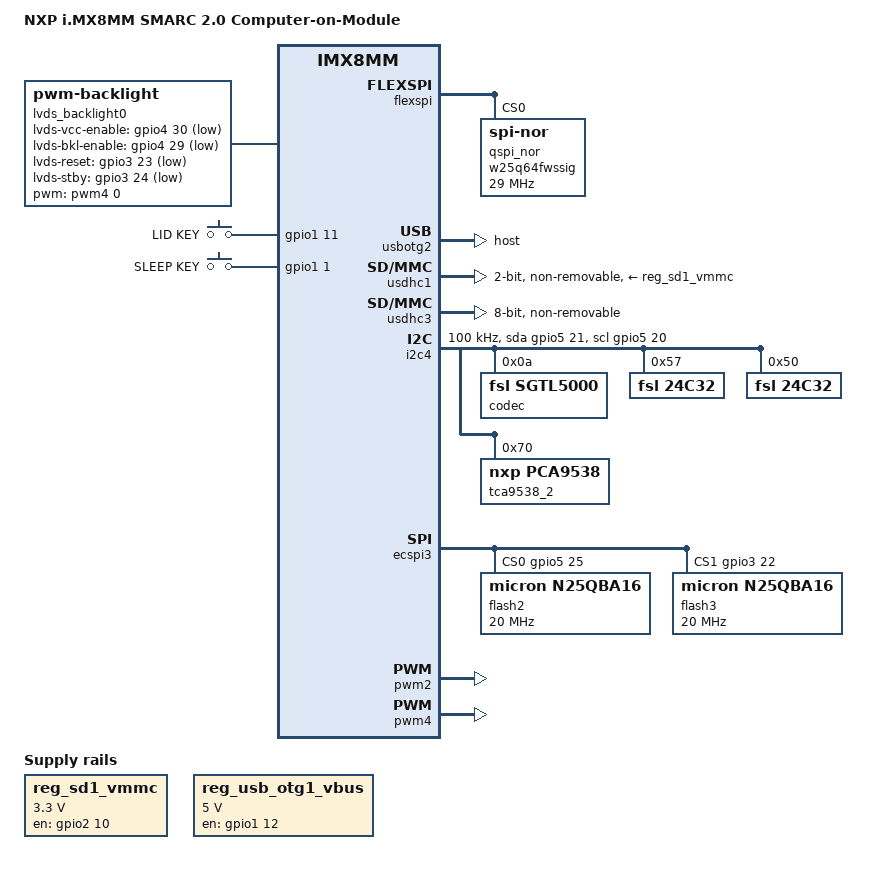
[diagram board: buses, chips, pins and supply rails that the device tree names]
// SPDX-License-Identifier: (GPL-2.0+ OR MIT)
/*
 * Copyright 2019-2020 NXP
 */

/dts-v1/;

#include <dt-bindings/usb/pd.h>
#include "imx8mm-rom5721-a1.dtsi"

/ {
	model = "NXP i.MX8MM SMARC 2.0 Computer-on-Module";
	compatible = "fsl,imx8mm-evk", "fsl,imx8mm";

	board {
		compatible = "proc-board";
		board-type = "ROM-5721 A1";
		board-cpu = "IMX8MM";
	};

	aliases {
                rtc0 = &s35390a;
                rtc1 = &snvs_rtc;
	};

	lvds_backlight0: lvds_backlight@0 {
                compatible = "pwm-backlight";
                pwms = <&pwm4 0 1000000 0>;
                brightness-levels = < 0  1  2  3  4  5  6  7  8  9
                             10 11 12 13 14 15 16 17 18 19
                             20 21 22 23 24 25 26 27 28 29
                             30 31 32 33 34 35 36 37 38 39
                             40 41 42 43 44 45 46 47 48 49
                             50 51 52 53 54 55 56 57 58 59
                             60 61 62 63 64 65 66 67 68 69
                             70 71 72 73 74 75 76 77 78 79
                             80 81 82 83 84 85 86 87 88 89
                             90 91 92 93 94 95 96 97 98 99
                            100>;
                default-brightness-level = <80>;
        };

	reg_sd1_vmmc: sd1_regulator {
		compatible = "regulator-fixed";
		regulator-name = "WLAN_EN";
		regulator-min-microvolt = <3300000>;
		regulator-max-microvolt = <3300000>;
		gpio = <&gpio2 10 GPIO_ACTIVE_HIGH>;
		off-on-delay-us = <20000>;
		startup-delay-us = <100>;
		enable-active-high;
	};

	reg_usb_otg1_vbus: regulator-vbus {
		compatible = "regulator-fixed";
		regulator-name = "usb_otg1_vbus";
		regulator-min-microvolt = <5000000>;
		regulator-max-microvolt = <5000000>;
		gpio = <&gpio1 12 GPIO_ACTIVE_HIGH>;
		enable-active-high;
	};

        gpio-keys {
                compatible = "gpio-keys";
                #address-cells = <1>;
                #size-cells = <0>;
                pinctrl-0 = <&pinctrl_lid_key &pinctrl_sleep_key>;
                pinctrl-names = "default";

                lid@1 {
			label = "LID KEY";
			gpios = <&gpio1 11 GPIO_ACTIVE_HIGH>; /* GPIO_ACTIVE_LOW:1 */
			linux,input-type = <EV_PWR>; //EV_KEY 1, EV_PWR 22
			linux,code = <KEY_SUSPEND>;     //KEY_SUSPEND 205, KEY_SLEEP 142, KEY_POWER 116
			wakeup-source;
			debounce-interval = <100>;
                };
                sleep@2 {
			label = "SLEEP KEY";
			gpios = <&gpio1 1 GPIO_ACTIVE_HIGH>; /* GPIO_ACTIVE_LOW:1 */
			linux,input-type = <EV_PWR>; //EV_KEY 1, EV_PWR 22
			linux,code = <KEY_SLEEP>;     //KEY_SUSPEND 205, KEY_SLEEP 142, KEY_POWER 116
			wakeup-source;
			debounce-interval = <100>;
                };
        };

        sound {
                compatible = "fsl,sgtl5000",
                             "fsl,imx-audio-sgtl5000";
                model = "sgtl5000";
                codec-master;
                ssi-controller = <&sai1>;
                audio-codec = <&codec>;
                audio-routing =
                        "MIC_IN", "Mic Jack",
                        "Mic Jack", "Mic Bias",
                        "Headphone Jack", "HP_OUT";
                no-audmux;
        };
};

&flexspi {
	pinctrl-names = "default";
	pinctrl-0 = <&pinctrl_flexspi>;
	status = "okay";

	qspi_nor: w25q64fwssig@0 {
                reg = <0>;
                #address-cells = <1>;
                #size-cells = <1>;
                compatible = "jedec,spi-nor", "winbond,w25q64";
                spi-max-frequency = <29000000>;
                spi-nor,quad-read = <4>;
        };
};

&uart4 { /* M4 debug */
	pinctrl-names = "default";
	pinctrl-0 = <&pinctrl_uart4>;
	status = "disabled";
};

&usbotg2 {
	dr_mode = "host";

	status = "okay";
};

&usdhc1 { /* wifi bt */
	pinctrl-names = "default", "state_100mhz", "state_200mhz";
	pinctrl-0 = <&pinctrl_usdhc1>, <&pinctrl_usdhc1_gpio>;
	pinctrl-1 = <&pinctrl_usdhc1_100mhz>, <&pinctrl_usdhc1_gpio>;
	pinctrl-2 = <&pinctrl_usdhc1_200mhz>, <&pinctrl_usdhc1_gpio>;
	bus-width = <2>;
	vmmc-supply = <&reg_sd1_vmmc>;
	pm-ignore-notify;
	keep-power-in-suspend;
	non-removable;
	status = "okay";
};

&usdhc3 {
	assigned-clocks = <&clk IMX8MM_CLK_USDHC3_ROOT>;
	assigned-clock-rates = <400000000>;
	pinctrl-names = "default", "state_100mhz", "state_200mhz";
	pinctrl-0 = <&pinctrl_usdhc3>;
	pinctrl-1 = <&pinctrl_usdhc3_100mhz>;
	pinctrl-2 = <&pinctrl_usdhc3_200mhz>;
	bus-width = <8>;
	non-removable;
	cqe-disabled;
	status = "okay";
};

&i2c4 {
	clock-frequency = <100000>;
	pinctrl-names = "default", "gpio";
	pinctrl-0 = <&pinctrl_i2c4>;
        pinctrl-1 = <&pinctrl_i2c4_gpio>;
        scl-gpios = <&gpio5 20 GPIO_ACTIVE_HIGH>;
        sda-gpios = <&gpio5 21 GPIO_ACTIVE_HIGH>;
	status = "okay";

        codec: sgtl5000@a {
                compatible = "fsl,sgtl5000";
                reg = <0x0a>;
                clocks = <&clk IMX8MM_CLK_SAI1_ROOT>;
                clock-names = "mclk";
                pinctrl-names = "default";
                pinctrl-0 = <&pinctrl_sai1_mclk>;
		assigned-clocks = <&clk IMX8MM_CLK_SAI1>;
		assigned-clock-parents = <&clk IMX8MM_AUDIO_PLL1_OUT>;
		assigned-clock-rates = <24576000>;
	};

	24c32@57 {				//DB5901-U19
                compatible = "fsl,24c32";
                reg = <0x57>;
        };

	24c32@50 {				//DB5901-I2C_GP_1
                compatible = "fsl,24c32";
                reg = <0x50>;
        };
        tca9538_2: pca9538@70 {
                compatible = "nxp,pca9538";
                reg = <0x70>;
                #gpio-cells = <2>;
                gpio-controller;
        };

};

&ecspi3 {
        cs-gpios = <&gpio5 25 0>, <&gpio3 22 0>;
        pinctrl-names = "default";
        pinctrl-0 = <&pinctrl_ecspi3>;
        status = "okay";

        flash2: m25p80@0 {
                #address-cells = <1>;
                #size-cells = <0>;
                compatible = "micron,n25qba16";
                spi-max-frequency = <20000000>;
                reg = <0>;
        };
        flash3: m25p80@1 {
                #address-cells = <1>;
                #size-cells = <0>;
                compatible = "micron,n25qba16";
                spi-max-frequency = <20000000>;
                reg = <1>;
        };
};

&pwm2 {
        status = "okay";
        pinctrl-names = "default";
        pinctrl-0 = <&pinctrl_pwm2>;
};

&pwm4 {
        status = "okay";
        pinctrl-names = "default";
        pinctrl-0 = <&pinctrl_pwm4>;
};

&lvds_backlight0 {
        pinctrl-names = "default";
        pinctrl-0 = <&pinctrl_lcd0>,<&pinctrl_lvds>;
        lvds-vcc-enable = <&gpio4 30 1>;
        lvds-bkl-enable = <&gpio4 29 1>;
	lvds-reset=<&gpio3 23 1>;
	lvds-stby=<&gpio3 24 1>;
	lvds-bkl-delay-time = <10>;
        status = "okay";
};

&iomuxc {
        pinctrl_hog: hoggrp {
                fsl,pins = <
			MX8MM_IOMUXC_GPIO1_IO05_GPIO1_IO5		0x19	/* WDT_TIME_OUT */
			MX8MM_IOMUXC_SPDIF_TX_GPIO5_IO3			0x19	/* GPIO11 */
			MX8MM_IOMUXC_SPDIF_EXT_CLK_GPIO5_IO5		0x19	/* GPIO5 */
			MX8MM_IOMUXC_SAI3_RXFS_GPIO4_IO28		0x19	/* RESET_OUT */	
                >;
        };

        pinctrl_csi1_rst: csi1_rst_grp {
                fsl,pins = <
			MX8MM_IOMUXC_GPIO1_IO08_GPIO1_IO8		0x19	/* CAM1_RST */	
                >;
        };

	pinctrl_i2c4: i2c4grp {
		fsl,pins = <
			MX8MM_IOMUXC_I2C4_SCL_I2C4_SCL			0x400001c3	/* I2C_GP_CK */
			MX8MM_IOMUXC_I2C4_SDA_I2C4_SDA			0x400001c3	/* I2C_GP_DAT */
		>;
	};

	pinctrl_i2c1_gpio: i2c1_gpio_grp {
		fsl,pins = <
			MX8MM_IOMUXC_I2C1_SCL_GPIO5_IO14		0x19
			MX8MM_IOMUXC_I2C1_SDA_GPIO5_IO15		0x19
		>;
	};

	pinctrl_i2c2_gpio: i2c2_gpio_grp {
		fsl,pins = <
			MX8MM_IOMUXC_I2C2_SCL_GPIO5_IO16		0x19
			MX8MM_IOMUXC_I2C2_SDA_GPIO5_IO17		0x19
		>;
	};

	pinctrl_i2c3_gpio: i2c3_gpio_grp {
		fsl,pins = <
			MX8MM_IOMUXC_I2C3_SCL_GPIO5_IO18		0x19
			MX8MM_IOMUXC_I2C3_SDA_GPIO5_IO19		0x19
		>;
	};

	pinctrl_i2c4_gpio: i2c4_gpio_grp {
		fsl,pins = <
			MX8MM_IOMUXC_I2C4_SCL_GPIO5_IO20		0x19
			MX8MM_IOMUXC_I2C4_SDA_GPIO5_IO21		0x19
		>;
	};

        pinctrl_sai1_mclk: sai1grp_mclk {
                fsl,pins = <
			MX8MM_IOMUXC_SAI1_MCLK_SAI1_MCLK	0xd6	/* SAI1_MCLK */
                >;
        };

	pinctrl_sai6: sai6grp {
		fsl,pins = <
			MX8MM_IOMUXC_SAI1_RXD6_SAI6_TX_SYNC	0xd6	/* SAI6_LRCK */
			MX8MM_IOMUXC_SAI1_RXD4_SAI6_TX_BCLK	0xd6	/* SAI6_CK */
			MX8MM_IOMUXC_SAI1_TXD5_SAI6_TX_DATA0	0xd6	/* SAI6_SDOUT */
			MX8MM_IOMUXC_SAI1_RXD5_SAI6_RX_DATA0	0xd6	/* SAI6_SDIN */
		>;
	};

	pinctrl_uart4: uart4grp {
		fsl,pins = <
			MX8MM_IOMUXC_UART4_RXD_UART4_DCE_RX	0x140
			MX8MM_IOMUXC_UART4_TXD_UART4_DCE_TX	0x140
		>;
	};

	pinctrl_flexspi: flexspigrp {
		fsl,pins = <
			MX8MM_IOMUXC_NAND_ALE_QSPI_A_SCLK               0x1c2
			MX8MM_IOMUXC_NAND_CE0_B_QSPI_A_SS0_B            0x82
			MX8MM_IOMUXC_NAND_DATA00_QSPI_A_DATA0           0x82
			MX8MM_IOMUXC_NAND_DATA01_QSPI_A_DATA1           0x82
			MX8MM_IOMUXC_NAND_DATA02_QSPI_A_DATA2           0x82
			MX8MM_IOMUXC_NAND_DATA03_QSPI_A_DATA3           0x82
		>;
	};

	pinctrl_usdhc3: usdhc3grp {
		fsl,pins = <
			MX8MM_IOMUXC_NAND_WE_B_USDHC3_CLK		0x190	/* SD3_CLK */
			MX8MM_IOMUXC_NAND_WP_B_USDHC3_CMD		0x1d0	/* SD3_CMD */
			MX8MM_IOMUXC_NAND_DATA04_USDHC3_DATA0		0x1d0	/* SD3_DATA0 */
			MX8MM_IOMUXC_NAND_DATA05_USDHC3_DATA1		0x1d0	/* SD3_DATA1 */
			MX8MM_IOMUXC_NAND_DATA06_USDHC3_DATA2		0x1d0	/* SD3_DATA2 */
			MX8MM_IOMUXC_NAND_DATA07_USDHC3_DATA3		0x1d0	/* SD3_DATA3 */
			MX8MM_IOMUXC_NAND_RE_B_USDHC3_DATA4		0x1d0	/* SD3_DATA4 */
			MX8MM_IOMUXC_NAND_CE2_B_USDHC3_DATA5		0x1d0	/* SD3_DATA5 */
			MX8MM_IOMUXC_NAND_CE3_B_USDHC3_DATA6		0x1d0	/* SD3_DATA6 */
			MX8MM_IOMUXC_NAND_CLE_USDHC3_DATA7		0x1d0	/* SD3_DATA7 */
			MX8MM_IOMUXC_NAND_CE1_B_USDHC3_STROBE 		0x190	/* SD3_STORBE */
		>;
	};

	pinctrl_usdhc3_100mhz: usdhc3-100mhzgrp {
		fsl,pins = <
			MX8MM_IOMUXC_NAND_WE_B_USDHC3_CLK               0x194
			MX8MM_IOMUXC_NAND_WP_B_USDHC3_CMD               0x1d4
			MX8MM_IOMUXC_NAND_DATA04_USDHC3_DATA0           0x1d4
			MX8MM_IOMUXC_NAND_DATA05_USDHC3_DATA1           0x1d4
			MX8MM_IOMUXC_NAND_DATA06_USDHC3_DATA2           0x1d4
			MX8MM_IOMUXC_NAND_DATA07_USDHC3_DATA3           0x1d4
			MX8MM_IOMUXC_NAND_RE_B_USDHC3_DATA4             0x1d4
			MX8MM_IOMUXC_NAND_CE2_B_USDHC3_DATA5            0x1d4
			MX8MM_IOMUXC_NAND_CE3_B_USDHC3_DATA6            0x1d4
			MX8MM_IOMUXC_NAND_CLE_USDHC3_DATA7              0x1d4
			MX8MM_IOMUXC_NAND_CE1_B_USDHC3_STROBE           0x194
		>;
	};

	pinctrl_usdhc3_200mhz: usdhc3-200mhzgrp {
		fsl,pins = <
			MX8MM_IOMUXC_NAND_WE_B_USDHC3_CLK               0x196
			MX8MM_IOMUXC_NAND_WP_B_USDHC3_CMD               0x1d6
			MX8MM_IOMUXC_NAND_DATA04_USDHC3_DATA0           0x1d6
			MX8MM_IOMUXC_NAND_DATA05_USDHC3_DATA1           0x1d6
			MX8MM_IOMUXC_NAND_DATA06_USDHC3_DATA2           0x1d6
			MX8MM_IOMUXC_NAND_DATA07_USDHC3_DATA3           0x1d6
			MX8MM_IOMUXC_NAND_RE_B_USDHC3_DATA4             0x1d6
			MX8MM_IOMUXC_NAND_CE2_B_USDHC3_DATA5            0x1d6
			MX8MM_IOMUXC_NAND_CE3_B_USDHC3_DATA6            0x1d6
			MX8MM_IOMUXC_NAND_CLE_USDHC3_DATA7              0x1d6
			MX8MM_IOMUXC_NAND_CE1_B_USDHC3_STROBE           0x196
		>;
	};

        pinctrl_tpm: tpm_grp {
                fsl,pins = <
			MX8MM_IOMUXC_ECSPI1_MOSI_GPIO5_IO7		0x159	/* TPM_IRQ */
                >;
        };

        pinctrl_i2c_switch: i2c_switch_grp {
                fsl,pins = <
			MX8MM_IOMUXC_GPIO1_IO07_GPIO1_IO7		0x159	/* I2C_INT */
                >;
        };

        pinctrl_usbotg: usbotggrp {
                fsl,pins = <
			MX8MM_IOMUXC_GPIO1_IO12_GPIO1_IO12		0x19	/* USB1_OTG_EN */
                >;
        };

	pinctrl_ecspi2: ecspi2grp {
                fsl,pins = <
			MX8MM_IOMUXC_ECSPI2_SCLK_ECSPI2_SCLK		0x82	/* ECSPI2_SCLK */
			MX8MM_IOMUXC_ECSPI2_MOSI_ECSPI2_MOSI		0x82	/* ECSPI2_MOSI */
			MX8MM_IOMUXC_ECSPI2_MISO_ECSPI2_MISO		0x82	/* ECSPI2_MISO */
			MX8MM_IOMUXC_ECSPI2_SS0_GPIO5_IO13		0x19	/* ECSPI2_SS0 */
			MX8MM_IOMUXC_SAI5_RXD0_GPIO3_IO21		0x19	/* ECSPI2_SS1 */
                >;
        };

	pinctrl_ecspi3: ecspi3grp {
                fsl,pins = <
			MX8MM_IOMUXC_UART1_RXD_ECSPI3_SCLK		0x82	/* ECSPI3_SCLK */
			MX8MM_IOMUXC_UART1_TXD_ECSPI3_MOSI		0x82	/* ECSPI3_MOSI */
			MX8MM_IOMUXC_UART2_RXD_ECSPI3_MISO		0x82	/* ECSPI3_MISO */
			MX8MM_IOMUXC_UART2_TXD_GPIO5_IO25		0x19	/* ECSPI3_SS0 */
			MX8MM_IOMUXC_SAI5_RXD1_GPIO3_IO22		0x19	/* ECSPI3_SS1 */
                >;
        };

	pinctrl_battery: battery_grp {
		fsl,pins = <
			MX8MM_IOMUXC_SAI2_TXC_GPIO4_IO25		0x159	/* BATLOW */
			MX8MM_IOMUXC_SAI3_TXD_GPIO5_IO1			0x159	/* CHARGING */
			MX8MM_IOMUXC_SAI5_MCLK_GPIO3_IO25		0x159	/* SMB_ALERT_1V8 */	
			MX8MM_IOMUXC_NAND_READY_B_GPIO3_IO16		0x159	/* CHARGER_PRSNT */
		>;
	};

        pinctrl_lid_key: gpio_userkeygrp-1 {
                fsl,pins = <
			MX8MM_IOMUXC_GPIO1_IO11_GPIO1_IO11		0x19	/* LID */
                >;
        };

        pinctrl_sleep_key: gpio_userkeygrp-2 {
                fsl,pins = <
			MX8MM_IOMUXC_GPIO1_IO01_GPIO1_IO1		0x19	/* SLEEP */
                >;
        };

        pinctrl_wdt_en_1: wdt_engrp-1 {
                fsl,pins = <
                        MX8MM_IOMUXC_GPIO1_IO09_GPIO1_IO9		0x19    /* WDT_EN */
                >;
        };

        pinctrl_wdt_ping_1: wdt_pinggrp-1 {
                fsl,pins = <
                        MX8MM_IOMUXC_GPIO1_IO15_GPIO1_IO15		0x19    /* WDOG_TRIG */
                        >;
        };

        pinctrl_wlan: wlangrp {
                fsl,pins = <
                        MX8MM_IOMUXC_SD1_DATA7_GPIO2_IO9                0x111	/* WL_WAKE_HOST */
			MX8MM_IOMUXC_SD1_DATA6_GPIO2_IO8		0x111	/* BT_WAKE_HOST */
			MX8MM_IOMUXC_SAI5_RXC_GPIO3_IO20		0x19	/* WL_PRESENT */
                >;
        };
	
	pinctrl_dsi2dp_irq: dsi2dpgrp {
		fsl,pins = <
			MX8MM_IOMUXC_GPIO1_IO00_GPIO1_IO0         0x159	/* DSI2DP IRQ */
		>;
	};

	pinctrl_pwm2: pwm2grp {
                fsl,pins = <
                        MX8MM_IOMUXC_SPDIF_RX_PWM2_OUT         0x06	/* LCD1_BKLT_PWM */
                >;
        };

	pinctrl_pwm4: pwm4grp {
                fsl,pins = <
                        MX8MM_IOMUXC_SAI3_MCLK_PWM4_OUT         0x06	/* LCD0_BKLT_PWM */
                >;
        };

	pinctrl_lvds: lvdsgrp {
                fsl,pins = <
			MX8MM_IOMUXC_SAI5_RXD2_GPIO3_IO23	0x19	/* LVDS_STBY */
			MX8MM_IOMUXC_SAI5_RXD3_GPIO3_IO24	0x19	/* LVDS_RESET */
                >;
        };

        pinctrl_lcd0: lcd0_grp {
                fsl,pins = <
			MX8MM_IOMUXC_SAI3_RXD_GPIO4_IO30	0x10		/* LCD0_VDD_EN */
			MX8MM_IOMUXC_SAI3_RXC_GPIO4_IO29	0x19		/* LCD0_BKLT_EN */
                >;
        };
	
        pinctrl_lcd1: lcd1_grp {
                fsl,pins = <
			MX8MM_IOMUXC_SAI2_TXD0_GPIO4_IO26	0x19		/* LCD0_VDD_EN */
			MX8MM_IOMUXC_SAI2_MCLK_GPIO4_IO27	0x19		/* LCD0_BKLT_EN */
                >;
        };
};
